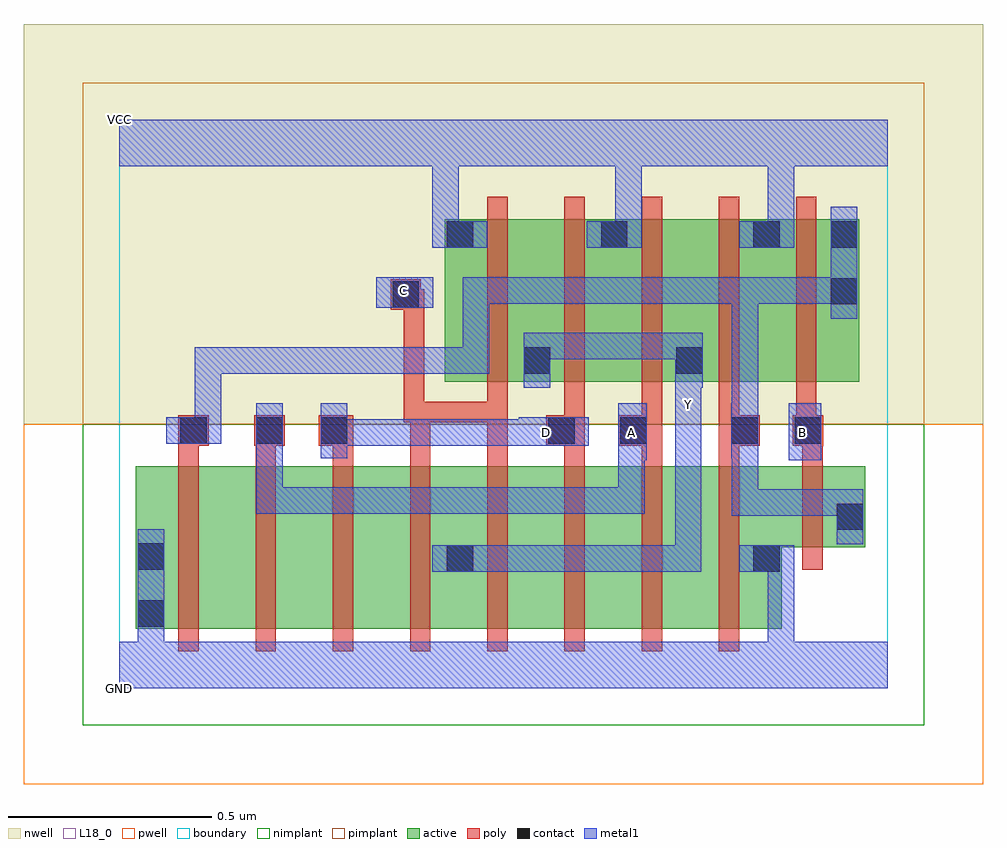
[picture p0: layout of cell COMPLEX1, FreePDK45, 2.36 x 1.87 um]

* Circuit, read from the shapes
.subckt COMPLEX1 A B C D GND VCC Y
M1 n1 n2 GND VSUBS nfet w=0.4u l=0.05u
M2 n3 A n1 VSUBS nfet w=0.4u l=0.05u
M3 n4 D n3 VSUBS nfet w=0.4u l=0.05u
M4 Y C n4 VSUBS nfet w=0.4u l=0.05u
M5 n5 C Y VSUBS nfet w=0.4u l=0.05u
M6 n6 D n5 VSUBS nfet w=0.4u l=0.05u
M7 n7 A n6 VSUBS nfet w=0.4u l=0.05u
M8 GND n2 n7 VSUBS nfet w=0.4u l=0.05u
M9 n2 B GND VSUBS nfet w=0.2u l=0.05u
M10 Y C VCC n8 pfet w=0.4u l=0.05u
M11 VCC D Y n8 pfet w=0.4u l=0.05u
M12 Y A VCC n8 pfet w=0.4u l=0.05u
M13 VCC n2 Y n8 pfet w=0.4u l=0.05u
M14 n2 B VCC n8 pfet w=0.4u l=0.05u
.ends

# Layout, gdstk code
import gdstk
lib = gdstk.Library(unit=1e-6, precision=1e-09)
def R(c, l, rs):  # rectangles x0, y0, x1, y1
    for r in rs: c.add(gdstk.rectangle(r[:2], r[2:], *l))
def A(c, l, x, y, w, h, nx, ny, dx, dy):  # array of equal rectangles
    R(c, l, [(x+i*dx, y+j*dy, x+i*dx+w, y+j*dy+h) for i in range(nx) for j in range(ny)])
active = (1, 0)
pwell = (2, 0)
nwell = (3, 0)
nimplant = (4, 0)
pimplant = (5, 0)
poly = (9, 0)
contact = (10, 0)
metal1 = (11, 0)
L18_0 = (18, 0)
boundary = (235, 0)

complex1 = lib.new_cell('COMPLEX1')
R(complex1, active, [(0.04,0.147,0.265,0.547), (0.04,0.147,0.115,0.547), (0.265,0.147,0.455,0.547), (0.455,0.147,0.645,0.547), (0.645,0.147,0.875,0.547), (0.8,0.147,1.025,0.547), (1.025,0.147,1.215,0.547), (1.215,0.147,1.405,0.547), (1.405,0.147,1.63,0.547), (0.8,0.195,0.875,0.547), (1.555,0.282,1.63,0.46), (1.555,0.347,1.835,0.547), (1.76,0.385,1.835,0.547), (0.8,0.755,1.065,1.155), (0.99,0.755,1.255,1.155), (0.99,0.755,1.065,1.07), (1.18,0.755,1.44,1.155), (1.365,0.755,1.63,1.155), (1.365,0.755,1.44,1.07), (1.555,0.755,1.82,1.155), (1.745,0.755,1.82,1.155), (0.8,0.832,0.875,1.155), (1.18,0.907,1.255,1.155), (1.555,0.907,1.63,1.155)])
R(complex1, pwell, [(-0.235,-0.235,2.125,0.65)])
R(complex1, nwell, [(-0.235,0.65,2.125,1.635)])
R(complex1, nimplant, [(-0.09,-0.09,1.98,0.65)])
R(complex1, pimplant, [(-0.09,0.65,1.98,1.49)])
A(complex1, poly, 0.145, 0.092, 0.05, 0.51, 8, 1, 0.19, 0)
A(complex1, poly, 0.145, 0.552, 0.05, 0.095, 3, 1, 0.19, 0)
A(complex1, poly, 1.095, 0.552, 0.05, 0.095, 3, 1, 0.19, 0)
A(complex1, poly, 1.095, 0.622, 0.05, 0.128, 4, 1, 0.19, 0)
A(complex1, poly, 0.905, 0.7, 0.05, 0.51, 5, 1, 0.19, 0)
R(complex1, poly, [(1.68,0.292,1.73,0.602), (0.715,0.552,0.765,0.705), (0.905,0.552,0.955,0.705), (1.68,0.552,1.73,0.647), (0.145,0.597,0.22,0.672), (0.332,0.597,0.407,0.672), (0.49,0.597,0.575,0.672), (1.05,0.597,1.145,0.672), (1.227,0.597,1.335,0.672), (1.475,0.597,1.575,0.672), (1.657,0.597,1.732,0.672), (0.7,0.655,0.75,0.982), (0.7,0.655,0.765,0.705), (0.715,0.655,0.955,0.705), (0.715,0.655,0.765,0.705), (0.715,0.655,0.765,0.705), (0.905,0.655,0.955,0.75), (0.905,0.655,0.955,0.705), (0.667,0.932,0.742,1.007), (0.692,0.932,0.742,0.982), (0.692,0.932,0.75,0.982)])
R(complex1, contact, [(0.045,0.152,0.11,0.217), (0.805,0.287,0.87,0.352), (1.56,0.287,1.625,0.352), (0.045,0.292,0.11,0.357), (1.765,0.39,1.83,0.455), (0.15,0.602,0.215,0.667), (0.337,0.602,0.402,0.667), (0.495,0.602,0.56,0.667), (1.055,0.602,1.12,0.667), (1.232,0.602,1.297,0.667), (1.505,0.602,1.57,0.667), (1.662,0.602,1.727,0.667), (0.995,0.775,1.06,0.84), (1.37,0.775,1.435,0.84), (0.672,0.937,0.737,1.002), (1.75,0.945,1.815,1.01), (0.805,1.085,0.87,1.15), (1.185,1.085,1.25,1.15), (1.56,1.085,1.625,1.15), (1.75,1.085,1.815,1.15)])
R(complex1, metal1, [(0,0,1.89,0.115), (0.045,0.05,0.11,0.182), (1.595,0.05,1.66,0.352), (0.045,0.117,0.11,0.392), (0.77,0.287,0.905,0.352), (0.84,0.287,0.91,0.352), (0.845,0.287,0.91,0.352), (0.845,0.287,1.047,0.352), (0.982,0.287,1.047,0.352), (0.982,0.287,1.047,0.352), (0.982,0.287,1.047,0.352), (0.982,0.287,1.292,0.352), (1.227,0.287,1.292,0.352), (1.227,0.287,1.432,0.352), (1.367,0.287,1.432,0.352), (1.367,0.287,1.432,0.352), (1.367,0.287,1.432,0.352), (1.367,0.287,1.432,0.352), (1.367,0.287,1.432,0.352), (1.367,0.287,1.432,0.697), (1.525,0.287,1.66,0.352), (1.765,0.355,1.83,0.49), (1.507,0.425,1.572,0.49), (1.507,0.425,1.83,0.49), (1.507,0.425,1.572,0.632), (1.765,0.425,1.83,0.49), (1.765,0.425,1.83,0.49), (0.337,0.43,0.402,0.495), (0.337,0.43,0.56,0.495), (0.337,0.43,0.402,0.632), (0.495,0.43,0.56,0.495), (0.495,0.43,0.56,0.495), (0.495,0.43,0.56,0.495), (0.495,0.43,0.697,0.495), (0.632,0.43,0.697,0.495), (0.632,0.43,0.91,0.495), (0.845,0.43,0.91,0.495), (0.845,0.43,0.91,0.495), (0.845,0.43,0.91,0.495), (0.845,0.43,1.047,0.495), (0.982,0.43,1.047,0.495), (0.982,0.43,1.047,0.495), (0.982,0.43,1.047,0.495), (0.982,0.43,1.292,0.495), (1.227,0.43,1.292,0.495), (1.227,0.43,1.292,0.627), (1.227,0.562,1.292,0.627), (1.227,0.562,1.292,0.627), (1.227,0.562,1.297,0.702), (1.647,0.562,1.727,0.702), (0.337,0.567,0.402,0.632), (0.337,0.567,0.402,0.632), (0.337,0.567,0.402,0.702), (0.495,0.567,0.56,0.702), (1.505,0.567,1.57,0.632), (1.505,0.567,1.57,0.702), (1.505,0.567,1.572,0.632), (1.507,0.567,1.572,1.012), (0.495,0.597,0.56,0.662), (0.495,0.597,0.56,0.662), (0.495,0.597,0.697,0.662), (0.632,0.597,0.697,0.662), (0.632,0.597,0.91,0.662), (0.845,0.597,0.91,0.662), (0.845,0.597,0.91,0.662), (0.845,0.597,0.91,0.662), (0.845,0.597,1.047,0.662), (0.982,0.597,1.047,0.662), (0.982,0.597,1.047,0.662), (0.982,0.597,1.155,0.667), (0.115,0.602,0.25,0.667), (0.185,0.602,0.25,0.667), (0.185,0.602,0.25,0.667), (0.185,0.602,0.25,0.84), (1.367,0.632,1.432,0.767), (1.367,0.702,1.432,0.805), (0.995,0.74,1.06,0.875), (1.367,0.74,1.435,0.875), (0.185,0.775,0.25,0.84), (0.185,0.775,0.422,0.84), (0.357,0.775,0.422,0.84), (0.357,0.775,0.422,0.84), (0.357,0.775,0.422,0.84), (0.357,0.775,0.56,0.84), (0.495,0.775,0.56,0.84), (0.495,0.775,0.56,0.84), (0.495,0.775,0.56,0.84), (0.495,0.775,0.697,0.84), (0.632,0.775,0.697,0.84), (0.632,0.775,0.91,0.84), (0.845,0.775,0.91,0.84), (0.845,0.775,0.91,1.012), (0.995,0.81,1.06,0.875), (0.995,0.81,1.06,0.875), (0.995,0.81,1.292,0.875), (1.227,0.81,1.292,0.875), (1.227,0.81,1.292,0.875), (1.227,0.81,1.292,0.875), (1.227,0.81,1.432,0.875), (1.75,0.91,1.815,1.185), (0.632,0.937,0.772,1.012), (0.845,0.947,0.91,1.012), (0.845,0.947,0.91,1.012), (0.845,0.947,0.91,1.012), (0.845,0.947,1.047,1.012), (0.982,0.947,1.047,1.012), (0.982,0.947,1.047,1.012), (0.982,0.947,1.047,1.012), (0.982,0.947,1.292,1.012), (1.227,0.947,1.292,1.012), (1.227,0.947,1.43,1.012), (1.365,0.947,1.43,1.012), (1.365,0.947,1.43,1.012), (1.365,0.947,1.43,1.012), (1.365,0.947,1.572,1.012), (1.507,0.947,1.572,1.012), (1.507,0.947,1.572,1.012), (1.507,0.947,1.572,1.012), (1.507,0.947,1.572,1.012), (1.507,0.947,1.572,1.012), (1.507,0.947,1.815,1.012), (1.75,0.947,1.815,1.012), (1.75,0.947,1.815,1.012), (0.77,1.085,0.835,1.35), (0.77,1.085,0.905,1.15), (1.15,1.085,1.285,1.15), (1.22,1.085,1.285,1.15), (1.22,1.085,1.285,1.15), (1.22,1.085,1.285,1.35), (1.525,1.085,1.66,1.15), (1.595,1.085,1.66,1.35), (0,1.285,1.89,1.4), (0.77,1.285,0.835,1.35), (0.77,1.285,0.835,1.35), (1.595,1.285,1.66,1.35), (1.595,1.285,1.66,1.35)])
R(complex1, L18_0, [(0,0,1.89,0.115), (0.045,0.05,0.11,0.182), (1.595,0.05,1.66,0.352), (0.045,0.117,0.11,0.392), (0.77,0.287,0.905,0.352), (0.84,0.287,0.91,0.352), (0.845,0.287,0.91,0.352), (0.845,0.287,1.047,0.352), (0.982,0.287,1.047,0.352), (0.982,0.287,1.047,0.352), (0.982,0.287,1.047,0.352), (0.982,0.287,1.292,0.352), (1.227,0.287,1.292,0.352), (1.227,0.287,1.432,0.352), (1.367,0.287,1.432,0.352), (1.367,0.287,1.432,0.352), (1.367,0.287,1.432,0.352), (1.367,0.287,1.432,0.352), (1.367,0.287,1.432,0.352), (1.367,0.287,1.432,0.697), (1.525,0.287,1.66,0.352), (0.337,0.43,0.402,0.495), (0.337,0.43,0.402,0.632), (0.337,0.43,0.56,0.495), (0.495,0.43,0.56,0.495), (0.495,0.43,0.56,0.495), (0.495,0.43,0.56,0.495), (0.495,0.43,0.697,0.495), (0.632,0.43,0.697,0.495), (0.632,0.43,0.91,0.495), (0.845,0.43,0.91,0.495), (0.845,0.43,0.91,0.495), (0.845,0.43,0.91,0.495), (0.845,0.43,1.047,0.495), (0.982,0.43,1.047,0.495), (0.982,0.43,1.047,0.495), (0.982,0.43,1.047,0.495), (0.982,0.43,1.292,0.495), (1.227,0.43,1.292,0.495), (1.227,0.43,1.292,0.627), (1.227,0.562,1.292,0.627), (1.227,0.562,1.292,0.627), (1.227,0.562,1.297,0.702), (1.647,0.562,1.727,0.702), (0.337,0.567,0.402,0.702), (0.337,0.567,0.402,0.632), (0.337,0.567,0.402,0.632), (0.495,0.567,0.56,0.702), (0.495,0.597,0.56,0.662), (0.495,0.597,0.56,0.662), (0.495,0.597,0.697,0.662), (0.632,0.597,0.697,0.662), (0.632,0.597,0.91,0.662), (0.845,0.597,0.91,0.662), (0.845,0.597,0.91,0.662), (0.845,0.597,0.91,0.662), (0.845,0.597,1.047,0.662), (0.982,0.597,1.047,0.662), (0.982,0.597,1.047,0.662), (0.982,0.597,1.155,0.667), (1.017,0.597,1.082,0.662), (1.227,0.597,1.292,0.662), (1.647,0.597,1.712,0.662), (1.367,0.632,1.432,0.767), (1.367,0.667,1.432,0.732), (1.367,0.702,1.432,0.805), (0.995,0.74,1.06,0.875), (1.367,0.74,1.435,0.875), (0.995,0.81,1.06,0.875), (0.995,0.81,1.06,0.875), (0.995,0.81,1.292,0.875), (1.227,0.81,1.292,0.875), (1.227,0.81,1.292,0.875), (1.227,0.81,1.292,0.875), (1.227,0.81,1.432,0.875), (0.632,0.937,0.772,1.012), (0.667,0.947,0.732,1.012), (0.77,1.085,0.905,1.15), (0.77,1.085,0.835,1.35), (1.15,1.085,1.285,1.15), (1.22,1.085,1.285,1.15), (1.22,1.085,1.285,1.15), (1.22,1.085,1.285,1.35), (1.525,1.085,1.66,1.15), (1.595,1.085,1.66,1.35), (0,1.285,1.89,1.4), (0.77,1.285,0.835,1.35), (0.77,1.285,0.835,1.35), (1.595,1.285,1.66,1.35), (1.595,1.285,1.66,1.35)])
R(complex1, boundary, [(0,0,1.89,1.4)])
complex1.add(gdstk.Label('A', (1.26,0.63), layer=11, texttype=0))
complex1.add(gdstk.Label('B', (1.68,0.63), layer=11, texttype=0))
complex1.add(gdstk.Label('C', (0.7,0.98), layer=11, texttype=0))
complex1.add(gdstk.Label('D', (1.05,0.63), layer=11, texttype=0))
complex1.add(gdstk.Label('Y', (1.4,0.7), layer=11, texttype=0))
complex1.add(gdstk.Label('VCC', (0,1.4), layer=11, texttype=0))
complex1.add(gdstk.Label('GND', (0,0), layer=11, texttype=0))

lib.write_gds('COMPLEX1.gds')
